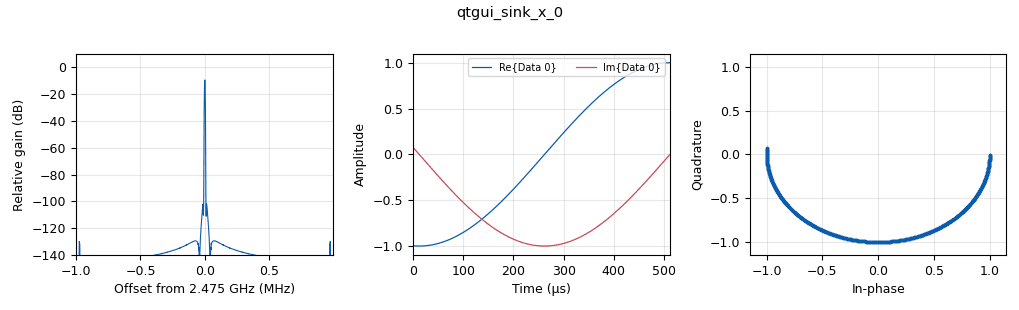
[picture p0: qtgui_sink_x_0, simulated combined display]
options:
  parameters:
    author: IoT Replay Defense
    description: Simple TX Flowgraph
    generate_options: qt_gui
    id: tx_simple
    output_language: python
    title: IoT TX Simple
  states: {}

blocks:
- name: samp_rate
  id: variable
  parameters:
    value: '2000000'
  states: {}
- name: freq
  id: variable
  parameters:
    value: '2475000000'
  states: {}
- name: analog_sig_source_x_0
  id: analog_sig_source_x
  parameters:
    amp: '1'
    freq: '1000'
    offset: '0'
    phase: '0'
    samp_rate: samp_rate
    type: complex
    waveform: analog.GR_COS_WAVE
  states: {}
- name: qtgui_sink_x_0
  id: qtgui_sink_x
  parameters:
    bw: samp_rate
    fc: freq
    fftsize: '1024'
    showrf: 'True'
    type: complex
  states: {}

connections:
- [analog_sig_source_x_0, '0', qtgui_sink_x_0, '0']

metadata:
  file_format: 1
  grc_version: 3.10.12.0
